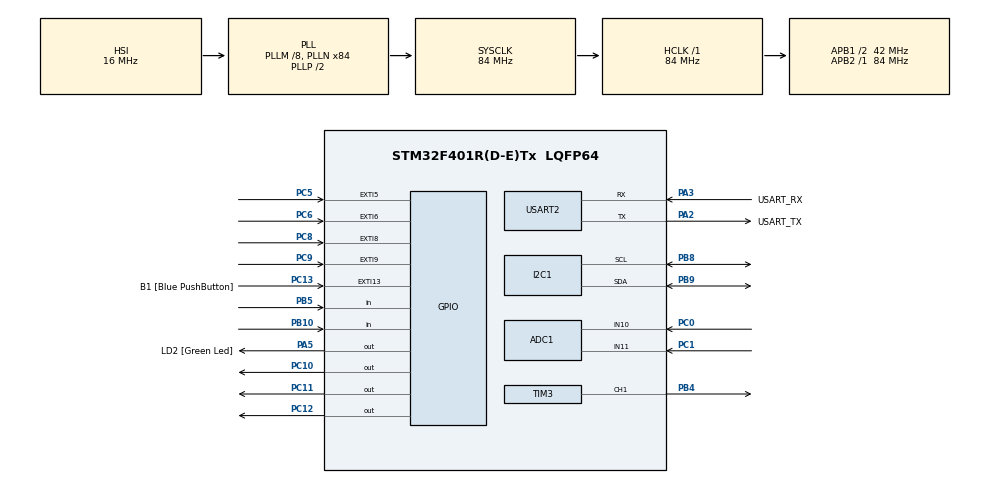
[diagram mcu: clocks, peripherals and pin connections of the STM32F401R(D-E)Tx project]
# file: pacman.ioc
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ADC1.Channel-4\#ChannelRegularConversion=ADC_CHANNEL_10
ADC1.Channel-5\#ChannelRegularConversion=ADC_CHANNEL_11
ADC1.ContinuousConvMode=ENABLE
ADC1.DMAContinuousRequests=ENABLE
ADC1.NbrOfConversion=2
ADC1.NbrOfConversionFlag=1
ADC1.Rank-4\#ChannelRegularConversion=1
ADC1.Rank-5\#ChannelRegularConversion=2
ADC1.SamplingTime-4\#ChannelRegularConversion=ADC_SAMPLETIME_84CYCLES
ADC1.SamplingTime-5\#ChannelRegularConversion=ADC_SAMPLETIME_84CYCLES
ADC1.ScanConvMode=ENABLE
ADC1.master=1
Dma.ADC1.2.Direction=DMA_PERIPH_TO_MEMORY
Dma.ADC1.2.FIFOMode=DMA_FIFOMODE_DISABLE
Dma.ADC1.2.Instance=DMA2_Stream0
Dma.ADC1.2.MemDataAlignment=DMA_MDATAALIGN_WORD
Dma.ADC1.2.MemInc=DMA_MINC_ENABLE
Dma.ADC1.2.Mode=DMA_CIRCULAR
Dma.ADC1.2.PeriphDataAlignment=DMA_PDATAALIGN_WORD
Dma.ADC1.2.PeriphInc=DMA_PINC_DISABLE
Dma.ADC1.2.Priority=DMA_PRIORITY_LOW
Dma.I2C1_RX.0.Direction=DMA_PERIPH_TO_MEMORY
Dma.I2C1_RX.0.FIFOMode=DMA_FIFOMODE_DISABLE
Dma.I2C1_RX.0.Instance=DMA1_Stream0
Dma.I2C1_RX.0.MemDataAlignment=DMA_MDATAALIGN_BYTE
Dma.I2C1_RX.0.MemInc=DMA_MINC_ENABLE
Dma.I2C1_RX.0.Mode=DMA_NORMAL
Dma.I2C1_RX.0.PeriphDataAlignment=DMA_PDATAALIGN_BYTE
Dma.I2C1_RX.0.PeriphInc=DMA_PINC_DISABLE
Dma.I2C1_RX.0.Priority=DMA_PRIORITY_LOW
Dma.I2C1_TX.1.Direction=DMA_MEMORY_TO_PERIPH
Dma.I2C1_TX.1.FIFOMode=DMA_FIFOMODE_DISABLE
Dma.I2C1_TX.1.Instance=DMA1_Stream6
Dma.I2C1_TX.1.MemDataAlignment=DMA_MDATAALIGN_BYTE
Dma.I2C1_TX.1.MemInc=DMA_MINC_ENABLE
Dma.I2C1_TX.1.Mode=DMA_NORMAL
Dma.I2C1_TX.1.PeriphDataAlignment=DMA_PDATAALIGN_BYTE
Dma.I2C1_TX.1.PeriphInc=DMA_PINC_DISABLE
Dma.I2C1_TX.1.Priority=DMA_PRIORITY_LOW
Dma.Request0=I2C1_RX
Dma.Request1=I2C1_TX
Dma.Request2=ADC1
Mcu.Family=STM32F4
Mcu.Name=STM32F401R(D-E)Tx
Mcu.Package=LQFP64
NVIC.ADC_IRQn=true\:0\:0\:false\:false\:true\:true\:true\:true
NVIC.DMA1_Stream0_IRQn=true\:0\:0\:false\:false\:true\:false\:true\:true
NVIC.DMA1_Stream6_IRQn=true\:0\:0\:false\:false\:true\:false\:true\:true
NVIC.DMA2_Stream0_IRQn=true\:0\:0\:false\:false\:true\:false\:true\:true
NVIC.EXTI9_5_IRQn=true\:0\:0\:false\:false\:true\:true\:true\:true
NVIC.I2C1_ER_IRQn=true\:0\:0\:false\:false\:true\:true\:true\:true
NVIC.I2C1_EV_IRQn=true\:0\:0\:false\:false\:true\:true\:true\:true
NVIC.PriorityGroup=NVIC_PRIORITYGROUP_0
NVIC.TIM2_IRQn=true\:0\:0\:false\:false\:true\:true\:true\:true
NVIC.TIM3_IRQn=true\:0\:0\:false\:false\:true\:true\:true\:true
NVIC.TIM4_IRQn=true\:0\:0\:false\:false\:true\:true\:true\:true
PA13.GPIO_Label=TMS
PA13.Mode=Serial_Wire
PA13.Signal=SYS_JTMS-SWDIO
PA14.GPIO_Label=TCK
PA14.Mode=Serial_Wire
PA14.Signal=SYS_JTCK-SWCLK
PA2.GPIO_Label=USART_TX
PA2.GPIO_Mode=GPIO_MODE_AF_PP
PA2.GPIO_PuPd=GPIO_NOPULL
PA2.GPIO_Speed=GPIO_SPEED_FREQ_LOW
PA2.Mode=Asynchronous
PA2.Signal=USART2_TX
PA3.GPIO_Label=USART_RX
PA3.GPIO_Mode=GPIO_MODE_AF_PP
PA3.GPIO_PuPd=GPIO_NOPULL
PA3.GPIO_Speed=GPIO_SPEED_FREQ_LOW
PA3.Mode=Asynchronous
PA3.Signal=USART2_RX
PA5.GPIO_Label=LD2 [Green Led]
PA5.GPIO_Mode=GPIO_MODE_OUTPUT_PP
PA5.GPIO_PuPd=GPIO_NOPULL
PA5.GPIO_Speed=GPIO_SPEED_FREQ_LOW
PA5.Signal=GPIO_Output
PB10.Signal=GPIO_Input
PB3.GPIO_Label=SWO
PB3.Signal=SYS_JTDO-SWO
PB4.Signal=S_TIM3_CH1
PB5.Signal=GPIO_Input
PB8.Mode=I2C
PB8.Signal=I2C1_SCL
PB9.Mode=I2C
PB9.Signal=I2C1_SDA
PC0.Signal=ADCx_IN10
PC1.Signal=ADCx_IN11
PC10.Signal=GPIO_Output
PC11.Signal=GPIO_Output
PC12.Signal=GPIO_Output
PC13-ANTI_TAMP.GPIO_Label=B1 [Blue PushButton]
PC13-ANTI_TAMP.GPIO_ModeDefaultEXTI=GPIO_MODE_IT_FALLING
PC13-ANTI_TAMP.GPIO_PuPd=GPIO_NOPULL
PC13-ANTI_TAMP.Signal=GPXTI13
PC14-OSC32_IN.Mode=LSE-External-Oscillator
PC14-OSC32_IN.Signal=RCC_OSC32_IN
PC15-OSC32_OUT.Mode=LSE-External-Oscillator
PC15-OSC32_OUT.Signal=RCC_OSC32_OUT
PC5.GPIO_PuPd=GPIO_PULLUP
PC5.Signal=GPXTI5
PC6.GPIO_PuPd=GPIO_PULLUP
PC6.Signal=GPXTI6
PC8.GPIO_PuPd=GPIO_PULLUP
PC8.Signal=GPXTI8
PC9.GPIO_PuPd=GPIO_PULLUP
PC9.Signal=GPXTI9
PH0\ -\ OSC_IN.Mode=HSE-External-Clock-Source
PH0\ -\ OSC_IN.Signal=RCC_OSC_IN
PH1\ -\ OSC_OUT.Mode=HSE-External-Clock-Source
PH1\ -\ OSC_OUT.Signal=RCC_OSC_OUT
ProjectManager.HeapSize=0x200
ProjectManager.StackSize=0x400
ProjectManager.TargetToolchain=STM32CubeIDE
RCC.48MHZClocksFreq_Value=24000000
RCC.AHBFreq_Value=84000000
RCC.APB1CLKDivider=RCC_HCLK_DIV2
RCC.APB1Freq_Value=42000000
RCC.APB1TimFreq_Value=84000000
RCC.APB2Freq_Value=84000000
RCC.APB2TimFreq_Value=84000000
RCC.CortexFreq_Value=84000000
RCC.HCLKFreq_Value=84000000
RCC.HSE_VALUE=8000000
RCC.HSI_VALUE=16000000
RCC.PLLM=8
RCC.PLLN=84
RCC.PLLQ=7
RCC.SYSCLKFreq_VALUE=84000000
RCC.SYSCLKSource=RCC_SYSCLKSOURCE_PLLCLK
RCC.VCOOutputFreq_Value=168000000
SH.ADCx_IN10.0=ADC1_IN10,IN10
SH.ADCx_IN11.0=ADC1_IN11,IN11
SH.S_TIM3_CH1.0=TIM3_CH1,PWM Generation1 CH1
TIM2.AutoReloadPreload=TIM_AUTORELOAD_PRELOAD_ENABLE
TIM2.Period=99999
TIM2.Prescaler=839
TIM3.AutoReloadPreload=TIM_AUTORELOAD_PRELOAD_ENABLE
TIM3.Channel-PWM\ Generation1\ CH1=TIM_CHANNEL_1
TIM3.Period=1000
TIM3.Prescaler=0
TIM3.Pulse-PWM\ Generation1\ CH1=500
TIM4.Period=49999
TIM4.Prescaler=839
USART2.VirtualMode=VM_ASYNC
VP_TIM2_VS_ClockSourceINT.Mode=Internal
VP_TIM3_VS_ClockSourceINT.Mode=Internal
VP_TIM4_VS_ClockSourceINT.Mode=Internal
board=NUCLEO-F401RE

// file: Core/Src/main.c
/* USER CODE BEGIN Header */
/**
  ******************************************************************************
  * @file           : main.c
  * @brief          : Main program body
  ******************************************************************************
  * @attention
  *
  * Copyright (c) 2024 STMicroelectronics.
  * All rights reserved.
  *
  * This software is licensed under terms that can be found in the LICENSE file
  * in the root directory of this software component.
  * If no LICENSE file comes with this software, it is provided AS-IS.
  *
  ******************************************************************************
  */
/* USER CODE END Header */
#include "main.h"

/* USER CODE BEGIN Includes */
#include "i2c-lcd.h"
#include "pacman.h"

#include <stdlib.h>
#include <stdio.h>
#include <time.h>
#include <stdbool.h>
/* USER CODE END Includes */

/* USER CODE BEGIN PD */
#define JOYSTICK_VALUE 1
#define TIM_FREQ 84000000
/* USER CODE END PD */

ADC_HandleTypeDef hadc1;
DMA_HandleTypeDef hdma_adc1;

I2C_HandleTypeDef hi2c1;
DMA_HandleTypeDef hdma_i2c1_rx;
DMA_HandleTypeDef hdma_i2c1_tx;

TIM_HandleTypeDef htim2;
TIM_HandleTypeDef htim3;
TIM_HandleTypeDef htim4;

UART_HandleTypeDef huart2;

void SystemClock_Config(void);
static void MX_GPIO_Init(void);
static void MX_DMA_Init(void);
static void MX_I2C1_Init(void);
static void MX_USART2_UART_Init(void);
static void MX_ADC1_Init(void);
static void MX_TIM2_Init(void);
static void MX_TIM3_Init(void);
static void MX_TIM4_Init(void);
/* USER CODE BEGIN PFP */
Direction joystick_direction(void);
Direction button_direction (void);

void snd_start (TIM_HandleTypeDef *htim, uint32_t tim_channel);
void snd_eat (TIM_HandleTypeDef *htim, uint32_t tim_channel);
void snd_win (TIM_HandleTypeDef *htim, uint32_t tim_channel);
void snd_lose (TIM_HandleTypeDef *htim, uint32_t tim_channel);
int presForFrequency (int frequency);
/* USER CODE END PFP */

/* USER CODE BEGIN 0 */
uint32_t VR[2];
uint8_t clock_flag = 0;

Player player;
Enemy enemy;
Game_status status;
volatile int update_display_flag = 0;

/* USER CODE END 0 */

int main(void)
{

  /* USER CODE BEGIN 1 */
	// the food? enemy, border
  /* USER CODE END 1 */

  /* MCU Configuration--------------------------------------------------------*/

  /* Reset of all peripherals, Initializes the Flash interface and the Systick. */
  HAL_Init();

  /* Configure the system clock */
  SystemClock_Config();

  /* Initialize all configured peripherals */
  MX_GPIO_Init();
  MX_DMA_Init();
  MX_I2C1_Init();
  MX_USART2_UART_Init();
  MX_ADC1_Init();
  MX_TIM2_Init();
  MX_TIM3_Init();
  MX_TIM4_Init();
  /* USER CODE BEGIN 2 */
  srand(time(NULL));

  // INITIALIZE THE DISPLAY
  lcd_init();
  lcd_clear_display();

  // CUSTOM CHARACTERS
  char pacman[] = {0x0E, 0x1F, 0x1F, 0x1E, 0x1C, 0x1E, 0x1F, 0x0E};
  char inky[] = {0x0E, 0x1F, 0x15, 0x1F, 0x1F, 0x1F, 0x1F, 0x15};

  // CUSTOM CHARACTERS ARE SENT TO THE CGRAM
  lcd_send_cmd(0x40);
  for (int i=0; i<8; i++) lcd_send_data(pacman[i]);
  lcd_send_cmd(0x40+8);
  for (int i=0; i<8; i++) lcd_send_data(inky[i]);

  pcm_game_init(&player, &enemy, &status);

  HAL_ADC_Start_DMA(&hadc1, VR, 2);

  HAL_TIM_Base_Start_IT(&htim2);
  HAL_TIM_Base_Start_IT(&htim4);
  HAL_TIM_PWM_Start(&htim3, TIM_CHANNEL_1);

  // MAIN MENU SCREEN
  lcd_cursor_pos(1, 4);
  lcd_send_string("PRESS SELECT");

  lcd_cursor_pos(2, 6);
  lcd_send_string("TO START");

  while (1) {
	  if (HAL_GPIO_ReadPin (GPIOC, GPIO_PIN_13) == GPIO_PIN_RESET && status == menu) {
		  break;
	  }
  }

  status = in_progress;
  snd_start(&htim3, TIM_CHANNEL_1);

  /* USER CODE END 2 */

  /* Infinite loop */
  while (1)
  {

    /* USER CODE BEGIN 3 */

	  // Current code uses four buttons to move
	  //Direction direction = joystick_direction(); // real time direction
	  pcm_check_status(&player, &enemy, &status);
	  if (status == in_progress && update_display_flag == 1) {
		  pcm_display_game(&player, &enemy);
		  update_display_flag = 0;
	  }
	  if (status == win) {
		  lcd_clear_display();
		  lcd_cursor_pos(0, 0);
		  lcd_send_string("YOU WIN!");
		  snd_win(&htim3, TIM_CHANNEL_1);
		  while (1){}
	  }
	  if (status == over) {
		  lcd_clear_display();
		  lcd_cursor_pos(0, 0);
		  lcd_send_string("GAME OVER!");
		  snd_lose(&htim3, TIM_CHANNEL_1);
		  while (1){}
	  }
  }
  /* USER CODE END 3 */
}

void SystemClock_Config(void)
{
  RCC_OscInitTypeDef RCC_OscInitStruct = {0};
  RCC_ClkInitTypeDef RCC_ClkInitStruct = {0};

  /** Configure the main internal regulator output voltage
  */
  __HAL_RCC_PWR_CLK_ENABLE();
  __HAL_PWR_VOLTAGESCALING_CONFIG(PWR_REGULATOR_VOLTAGE_SCALE2);

  /** Initializes the RCC Oscillators according to the specified parameters
  * in the RCC_OscInitTypeDef structure.
  */
  RCC_OscInitStruct.OscillatorType = RCC_OSCILLATORTYPE_HSI;
  RCC_OscInitStruct.HSIState = RCC_HSI_ON;
  RCC_OscInitStruct.HSICalibrationValue = RCC_HSICALIBRATION_DEFAULT;
  RCC_OscInitStruct.PLL.PLLState = RCC_PLL_ON;
  RCC_OscInitStruct.PLL.PLLSource = RCC_PLLSOURCE_HSI;
  RCC_OscInitStruct.PLL.PLLM = 8;
  RCC_OscInitStruct.PLL.PLLN = 84;
  RCC_OscInitStruct.PLL.PLLP = RCC_PLLP_DIV2;
  RCC_OscInitStruct.PLL.PLLQ = 7;
  if (HAL_RCC_OscConfig(&RCC_OscInitStruct) != HAL_OK)
  {
    Error_Handler();
  }

  /** Initializes the CPU, AHB and APB buses clocks
  */
  RCC_ClkInitStruct.ClockType = RCC_CLOCKTYPE_HCLK|RCC_CLOCKTYPE_SYSCLK
                              |RCC_CLOCKTYPE_PCLK1|RCC_CLOCKTYPE_PCLK2;
  RCC_ClkInitStruct.SYSCLKSource = RCC_SYSCLKSOURCE_PLLCLK;
  RCC_ClkInitStruct.AHBCLKDivider = RCC_SYSCLK_DIV1;
  RCC_ClkInitStruct.APB1CLKDivider = RCC_HCLK_DIV2;
  RCC_ClkInitStruct.APB2CLKDivider = RCC_HCLK_DIV1;

  if (HAL_RCC_ClockConfig(&RCC_ClkInitStruct, FLASH_LATENCY_2) != HAL_OK)
  {
    Error_Handler();
  }
}

static void MX_ADC1_Init(void)
{

  ADC_ChannelConfTypeDef sConfig = {0};

  /** Configure the global features of the ADC (Clock, Resolution, Data Alignment and number of conversion)
  */
  hadc1.Instance = ADC1;
  hadc1.Init.ClockPrescaler = ADC_CLOCK_SYNC_PCLK_DIV4;
  hadc1.Init.Resolution = ADC_RESOLUTION_12B;
  hadc1.Init.ScanConvMode = ENABLE;
  hadc1.Init.ContinuousConvMode = ENABLE;
  hadc1.Init.DiscontinuousConvMode = DISABLE;
  hadc1.Init.ExternalTrigConvEdge = ADC_EXTERNALTRIGCONVEDGE_NONE;
  hadc1.Init.ExternalTrigConv = ADC_SOFTWARE_START;
  hadc1.Init.DataAlign = ADC_DATAALIGN_RIGHT;
  hadc1.Init.NbrOfConversion = 2;
  hadc1.Init.DMAContinuousRequests = ENABLE;
  hadc1.Init.EOCSelection = ADC_EOC_SINGLE_CONV;
  if (HAL_ADC_Init(&hadc1) != HAL_OK)
  {
    Error_Handler();
  }

  /** Configure for the selected ADC regular channel its corresponding rank in the sequencer and its sample time.
  */
  sConfig.Channel = ADC_CHANNEL_10;
  sConfig.Rank = 1;
  sConfig.SamplingTime = ADC_SAMPLETIME_84CYCLES;
  if (HAL_ADC_ConfigChannel(&hadc1, &sConfig) != HAL_OK)
  {
    Error_Handler();
  }

  /** Configure for the selected ADC regular channel its corresponding rank in the sequencer and its sample time.
  */
  sConfig.Channel = ADC_CHANNEL_11;
  sConfig.Rank = 2;
  if (HAL_ADC_ConfigChannel(&hadc1, &sConfig) != HAL_OK)
  {
    Error_Handler();
  }

}

static void MX_I2C1_Init(void)
{

  hi2c1.Instance = I2C1;
  hi2c1.Init.ClockSpeed = 100000;
  hi2c1.Init.DutyCycle = I2C_DUTYCYCLE_2;
  hi2c1.Init.OwnAddress1 = 0;
  hi2c1.Init.AddressingMode = I2C_ADDRESSINGMODE_7BIT;
  hi2c1.Init.DualAddressMode = I2C_DUALADDRESS_DISABLE;
  hi2c1.Init.OwnAddress2 = 0;
  hi2c1.Init.GeneralCallMode = I2C_GENERALCALL_DISABLE;
  hi2c1.Init.NoStretchMode = I2C_NOSTRETCH_DISABLE;
  if (HAL_I2C_Init(&hi2c1) != HAL_OK)
  {
    Error_Handler();
  }

}

static void MX_TIM2_Init(void)
{

  TIM_ClockConfigTypeDef sClockSourceConfig = {0};
  TIM_MasterConfigTypeDef sMasterConfig = {0};

  htim2.Instance = TIM2;
  htim2.Init.Prescaler = 839;
  htim2.Init.CounterMode = TIM_COUNTERMODE_UP;
  htim2.Init.Period = 99999;
  htim2.Init.ClockDivision = TIM_CLOCKDIVISION_DIV1;
  htim2.Init.AutoReloadPreload = TIM_AUTORELOAD_PRELOAD_ENABLE;
  if (HAL_TIM_Base_Init(&htim2) != HAL_OK)
  {
    Error_Handler();
  }
  sClockSourceConfig.ClockSource = TIM_CLOCKSOURCE_INTERNAL;
  if (HAL_TIM_ConfigClockSource(&htim2, &sClockSourceConfig) != HAL_OK)
  {
    Error_Handler();
  }
  sMasterConfig.MasterOutputTrigger = TIM_TRGO_RESET;
  sMasterConfig.MasterSlaveMode = TIM_MASTERSLAVEMODE_DISABLE;
  if (HAL_TIMEx_MasterConfigSynchronization(&htim2, &sMasterConfig) != HAL_OK)
  {
    Error_Handler();
  }

}

static void MX_TIM3_Init(void)
{

  TIM_ClockConfigTypeDef sClockSourceConfig = {0};
  TIM_MasterConfigTypeDef sMasterConfig = {0};
  TIM_OC_InitTypeDef sConfigOC = {0};

  htim3.Instance = TIM3;
  htim3.Init.Prescaler = 0;
  htim3.Init.CounterMode = TIM_COUNTERMODE_UP;
  htim3.Init.Period = 1000;
  htim3.Init.ClockDivision = TIM_CLOCKDIVISION_DIV1;
  htim3.Init.AutoReloadPreload = TIM_AUTORELOAD_PRELOAD_ENABLE;
  if (HAL_TIM_Base_Init(&htim3) != HAL_OK)
  {
    Error_Handler();
  }
  sClockSourceConfig.ClockSource = TIM_CLOCKSOURCE_INTERNAL;
  if (HAL_TIM_ConfigClockSource(&htim3, &sClockSourceConfig) != HAL_OK)
  {
    Error_Handler();
  }
  if (HAL_TIM_PWM_Init(&htim3) != HAL_OK)
  {
    Error_Handler();
  }
  sMasterConfig.MasterOutputTrigger = TIM_TRGO_RESET;
  sMasterConfig.MasterSlaveMode = TIM_MASTERSLAVEMODE_DISABLE;
  if (HAL_TIMEx_MasterConfigSynchronization(&htim3, &sMasterConfig) != HAL_OK)
  {
    Error_Handler();
  }
  sConfigOC.OCMode = TIM_OCMODE_PWM1;
  sConfigOC.Pulse = 500;
  sConfigOC.OCPolarity = TIM_OCPOLARITY_HIGH;
  sConfigOC.OCFastMode = TIM_OCFAST_DISABLE;
  if (HAL_TIM_PWM_ConfigChannel(&htim3, &sConfigOC, TIM_CHANNEL_1) != HAL_OK)
  {
    Error_Handler();
  }
  HAL_TIM_MspPostInit(&htim3);

}

static void MX_TIM4_Init(void)
{

  TIM_ClockConfigTypeDef sClockSourceConfig = {0};
  TIM_MasterConfigTypeDef sMasterConfig = {0};

  htim4.Instance = TIM4;
  htim4.Init.Prescaler = 839;
  htim4.Init.CounterMode = TIM_COUNTERMODE_UP;
  htim4.Init.Period = 49999;
  htim4.Init.ClockDivision = TIM_CLOCKDIVISION_DIV1;
  htim4.Init.AutoReloadPreload = TIM_AUTORELOAD_PRELOAD_DISABLE;
  if (HAL_TIM_Base_Init(&htim4) != HAL_OK)
  {
    Error_Handler();
  }
  sClockSourceConfig.ClockSource = TIM_CLOCKSOURCE_INTERNAL;
  if (HAL_TIM_ConfigClockSource(&htim4, &sClockSourceConfig) != HAL_OK)
  {
    Error_Handler();
  }
  sMasterConfig.MasterOutputTrigger = TIM_TRGO_RESET;
  sMasterConfig.MasterSlaveMode = TIM_MASTERSLAVEMODE_DISABLE;
  if (HAL_TIMEx_MasterConfigSynchronization(&htim4, &sMasterConfig) != HAL_OK)
  {
    Error_Handler();
  }

}

static void MX_USART2_UART_Init(void)
{

  huart2.Instance = USART2;
  huart2.Init.BaudRate = 115200;
  huart2.Init.WordLength = UART_WORDLENGTH_8B;
  huart2.Init.StopBits = UART_STOPBITS_1;
  huart2.Init.Parity = UART_PARITY_NONE;
  huart2.Init.Mode = UART_MODE_TX_RX;
  huart2.Init.HwFlowCtl = UART_HWCONTROL_NONE;
  huart2.Init.OverSampling = UART_OVERSAMPLING_16;
  if (HAL_UART_Init(&huart2) != HAL_OK)
  {
    Error_Handler();
  }

}

static void MX_DMA_Init(void)
{

  /* DMA controller clock enable */
  __HAL_RCC_DMA1_CLK_ENABLE();
  __HAL_RCC_DMA2_CLK_ENABLE();

  /* DMA interrupt init */
  /* DMA1_Stream0_IRQn interrupt configuration */
  HAL_NVIC_SetPriority(DMA1_Stream0_IRQn, 0, 0);
  HAL_NVIC_EnableIRQ(DMA1_Stream0_IRQn);
  /* DMA1_Stream6_IRQn interrupt configuration */
  HAL_NVIC_SetPriority(DMA1_Stream6_IRQn, 0, 0);
  HAL_NVIC_EnableIRQ(DMA1_Stream6_IRQn);
  /* DMA2_Stream0_IRQn interrupt configuration */
  HAL_NVIC_SetPriority(DMA2_Stream0_IRQn, 0, 0);
  HAL_NVIC_EnableIRQ(DMA2_Stream0_IRQn);

}

static void MX_GPIO_Init(void)
{
  GPIO_InitTypeDef GPIO_InitStruct = {0};

  /* GPIO Ports Clock Enable */
  __HAL_RCC_GPIOC_CLK_ENABLE();
  __HAL_RCC_GPIOH_CLK_ENABLE();
  __HAL_RCC_GPIOA_CLK_ENABLE();
  __HAL_RCC_GPIOB_CLK_ENABLE();

  /*Configure GPIO pin Output Level */
  HAL_GPIO_WritePin(LD2_GPIO_Port, LD2_Pin, GPIO_PIN_RESET);

  /*Configure GPIO pin Output Level */
  HAL_GPIO_WritePin(GPIOC, GPIO_PIN_10|GPIO_PIN_11|GPIO_PIN_12, GPIO_PIN_RESET);

  /*Configure GPIO pin : B1_Pin */
  GPIO_InitStruct.Pin = B1_Pin;
  GPIO_InitStruct.Mode = GPIO_MODE_IT_FALLING;
  GPIO_InitStruct.Pull = GPIO_NOPULL;
  HAL_GPIO_Init(B1_GPIO_Port, &GPIO_InitStruct);

  /*Configure GPIO pin : LD2_Pin */
  GPIO_InitStruct.Pin = LD2_Pin;
  GPIO_InitStruct.Mode = GPIO_MODE_OUTPUT_PP;
  GPIO_InitStruct.Pull = GPIO_NOPULL;
  GPIO_InitStruct.Speed = GPIO_SPEED_FREQ_LOW;
  HAL_GPIO_Init(LD2_GPIO_Port, &GPIO_InitStruct);

  /*Configure GPIO pins : PC5 PC6 PC8 PC9 */
  GPIO_InitStruct.Pin = GPIO_PIN_5|GPIO_PIN_6|GPIO_PIN_8|GPIO_PIN_9;
  GPIO_InitStruct.Mode = GPIO_MODE_IT_RISING;
  GPIO_InitStruct.Pull = GPIO_PULLUP;
  HAL_GPIO_Init(GPIOC, &GPIO_InitStruct);

  /*Configure GPIO pins : PB10 PB5 */
  GPIO_InitStruct.Pin = GPIO_PIN_10|GPIO_PIN_5;
  GPIO_InitStruct.Mode = GPIO_MODE_INPUT;
  GPIO_InitStruct.Pull = GPIO_NOPULL;
  HAL_GPIO_Init(GPIOB, &GPIO_InitStruct);

  /*Configure GPIO pins : PC10 PC11 PC12 */
  GPIO_InitStruct.Pin = GPIO_PIN_10|GPIO_PIN_11|GPIO_PIN_12;
  GPIO_InitStruct.Mode = GPIO_MODE_OUTPUT_PP;
  GPIO_InitStruct.Pull = GPIO_NOPULL;
  GPIO_InitStruct.Speed = GPIO_SPEED_FREQ_LOW;
  HAL_GPIO_Init(GPIOC, &GPIO_InitStruct);

  /* EXTI interrupt init*/
  HAL_NVIC_SetPriority(EXTI9_5_IRQn, 0, 0);
  HAL_NVIC_EnableIRQ(EXTI9_5_IRQn);

}

/* USER CODE BEGIN 4 */
Direction joystick_direction (void) {
	if (VR[0] > 4080) {
		return right;
	}
	else if (VR[1] > 4080) {
		return up;
	}
	else if (VR[0] < 50) {
		return left;
	}
	else if (VR[1] < 50) {
		return down;
	}
	return none;
}

void HAL_GPIO_EXTI_Callback(uint16_t GPIO_Pin) {
	static uint32_t last_interrupt_time = 0;
	uint32_t current_time = HAL_GetTick();

	if (current_time - last_interrupt_time < 50) {
		return;
	}

	last_interrupt_time = current_time;

	switch (GPIO_Pin) {
		case GPIO_PIN_9:
			pcm_move_player(&player, left); //if (pcm_move_player(&player, left) == 1) snd_eat(&htim3, TIM_CHANNEL_1);
			update_display_flag = 1;
			break;
		case GPIO_PIN_8:
			pcm_move_player(&player, up); //if (pcm_move_player(&player, up) == 1) snd_eat(&htim3, TIM_CHANNEL_1);
			update_display_flag = 1;
			break;
		case GPIO_PIN_6:
			pcm_move_player(&player, down); //if (pcm_move_player(&player, down) == 1) snd_eat(&htim3, TIM_CHANNEL_1);
			update_display_flag = 1;
			break;
		case GPIO_PIN_5:
			pcm_move_player(&player, right); //if (pcm_move_player(&player, right) == 1) snd_eat(&htim3, TIM_CHANNEL_1);
			update_display_flag = 1;
			break;
		}
	}

void HAL_TIM_PeriodElapsedCallback(TIM_HandleTypeDef *htim)
{
	if (htim->Instance == TIM4) {
		update_display_flag = 1;
	}
	if (htim->Instance == TIM2) {
		clock_flag ^= 0x01;
		pcm_move_enemy(&player, &enemy, clock_flag);
		//update_display_flag = 1;
	}
}

void snd_start (TIM_HandleTypeDef *htim, uint32_t tim_channel) {
	__HAL_TIM_SET_PRESCALER(htim, presForFrequency(1000));
	HAL_Delay(250);
	__HAL_TIM_SET_PRESCALER(htim, presForFrequency(3000));
	HAL_Delay(250);
	__HAL_TIM_SET_PRESCALER(htim, presForFrequency(6000));
	HAL_Delay(250);
	__HAL_TIM_SET_PRESCALER(htim, presForFrequency(9000));
	HAL_Delay(250);
	__HAL_TIM_SET_PRESCALER(htim, presForFrequency(12000));
	HAL_Delay(250);
	HAL_TIM_PWM_Stop(htim, tim_channel);
}

void snd_eat (TIM_HandleTypeDef *htim, uint32_t tim_channel) {
	HAL_TIM_PWM_Start(htim, tim_channel);
	__HAL_TIM_SET_PRESCALER(htim, presForFrequency(3000));
	HAL_Delay(250);
	__HAL_TIM_SET_PRESCALER(htim, presForFrequency(1000));
	HAL_Delay(250);
	HAL_TIM_PWM_Stop(htim, tim_channel);
}

void snd_win (TIM_HandleTypeDef *htim, uint32_t tim_channel) {
	HAL_TIM_PWM_Start(htim, TIM_CHANNEL_1);
	__HAL_TIM_SET_PRESCALER(htim, presForFrequency(3000));
	HAL_Delay(250);
	__HAL_TIM_SET_PRESCALER(htim, presForFrequency(1000));
	HAL_Delay(250);
	__HAL_TIM_SET_PRESCALER(htim, presForFrequency(6000));
	HAL_Delay(250);
	HAL_TIM_PWM_Stop(htim, tim_channel);
}

void snd_lose (TIM_HandleTypeDef *htim, uint32_t tim_channel) {
	HAL_TIM_PWM_Start(htim, tim_channel);
	__HAL_TIM_SET_PRESCALER(htim, presForFrequency(6000));
	HAL_Delay(250);
	__HAL_TIM_SET_PRESCALER(htim, presForFrequency(3000));
	HAL_Delay(250);
	__HAL_TIM_SET_PRESCALER(htim, presForFrequency(1000));
	HAL_Delay(250);
	HAL_TIM_PWM_Stop(htim, tim_channel);
}

int presForFrequency (int frequency)
{
	if (frequency == 0) return 0;
	return ((TIM_FREQ/(1000*frequency))-1);  // 1 is added in the register
}

/* USER CODE END 4 */

void Error_Handler(void)
{
  __disable_irq();
  while (1)
  {
  }
}
